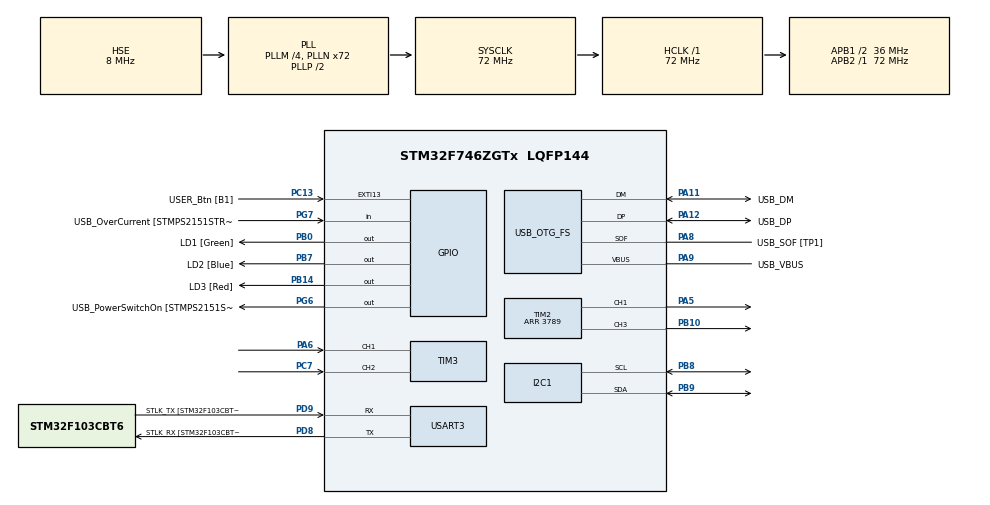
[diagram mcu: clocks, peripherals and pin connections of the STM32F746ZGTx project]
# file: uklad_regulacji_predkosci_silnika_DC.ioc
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I2C1.Timing=0x00808CD2
Mcu.Family=STM32F7
Mcu.Name=STM32F746ZGTx
Mcu.Package=LQFP144
NVIC.PriorityGroup=NVIC_PRIORITYGROUP_4
NVIC.TIM4_IRQn=true\:0\:0\:false\:false\:true\:true\:true\:true
PA1.GPIO_Label=RMII_REF_CLK [LAN8742A-CZ-TR_REFCLK0]
PA1.Signal=ETH_REF_CLK
PA10.GPIO_Label=USB_ID
PA10.Signal=USB_OTG_FS_ID
PA11.GPIO_Label=USB_DM
PA11.Mode=Device_Only
PA11.Signal=USB_OTG_FS_DM
PA12.GPIO_Label=USB_DP
PA12.Mode=Device_Only
PA12.Signal=USB_OTG_FS_DP
PA13.GPIO_Label=TMS
PA13.Mode=Serial_Wire
PA13.Signal=SYS_JTMS-SWDIO
PA14.GPIO_Label=TCK
PA14.Mode=Serial_Wire
PA14.Signal=SYS_JTCK-SWCLK
PA2.GPIO_Label=RMII_MDIO [LAN8742A-CZ-TR_MDIO]
PA2.Signal=ETH_MDIO
PA5.Signal=S_TIM2_CH1_ETR
PA6.Signal=S_TIM3_CH1
PA7.GPIO_Label=RMII_CRS_DV [LAN8742A-CZ-TR_CRS_DV]
PA7.Signal=ETH_CRS_DV
PA8.GPIO_Label=USB_SOF [TP1]
PA8.Mode=Activate_SOF_FS
PA8.Signal=USB_OTG_FS_SOF
PA9.GPIO_Label=USB_VBUS
PA9.Mode=Activate_VBUS
PA9.Signal=USB_OTG_FS_VBUS
PB0.GPIO_Label=LD1 [Green]
PB0.Signal=GPIO_Output
PB10.Signal=S_TIM2_CH3
PB13.GPIO_Label=RMII_TXD1 [LAN8742A-CZ-TR_TXD1]
PB13.Signal=ETH_TXD1
PB14.GPIO_Label=LD3 [Red]
PB14.Signal=GPIO_Output
PB3.GPIO_Label=SW0
PB3.Signal=SYS_JTDO-SWO
PB7.GPIO_Label=LD2 [Blue]
PB7.Signal=GPIO_Output
PB8.Mode=I2C
PB8.Signal=I2C1_SCL
PB9.Mode=I2C
PB9.Signal=I2C1_SDA
PC1.GPIO_Label=RMII_MDC [LAN8742A-CZ-TR_MDC]
PC1.Signal=ETH_MDC
PC13.GPIO_Label=USER_Btn [B1]
PC13.Signal=GPXTI13
PC14/OSC32_IN.Mode=LSE-External-Oscillator
PC14/OSC32_IN.Signal=RCC_OSC32_IN
PC15/OSC32_OUT.Mode=LSE-External-Oscillator
PC15/OSC32_OUT.Signal=RCC_OSC32_OUT
PC4.GPIO_Label=RMII_RXD0 [LAN8742A-CZ-TR_RXD0]
PC4.Signal=ETH_RXD0
PC5.GPIO_Label=RMII_RXD1 [LAN8742A-CZ-TR_RXD1]
PC5.Signal=ETH_RXD1
PC7.Signal=S_TIM3_CH2
PD8.GPIO_Label=STLK_RX [STM32F103CBT6_PA3]
PD8.GPIO_PuPd=GPIO_PULLUP
PD8.Mode=Asynchronous
PD8.Signal=USART3_TX
PD9.GPIO_Label=STLK_TX [STM32F103CBT6_PA2]
PD9.GPIO_PuPd=GPIO_PULLUP
PD9.Mode=Asynchronous
PD9.Signal=USART3_RX
PG11.GPIO_Label=RMII_TX_EN [LAN8742A-CZ-TR_TXEN]
PG11.Signal=ETH_TX_EN
PG13.GPIO_Label=RMII_TXD0 [LAN8742A-CZ-TR_TXD0]
PG13.Signal=ETH_TXD0
PG6.GPIO_Label=USB_PowerSwitchOn [STMPS2151STR_EN]
PG6.Signal=GPIO_Output
PG7.GPIO_Label=USB_OverCurrent [STMPS2151STR_FAULT]
PG7.Signal=GPIO_Input
PH0/OSC_IN.GPIO_Label=MCO [STM32F103CBT6_PA8]
PH0/OSC_IN.Mode=HSE-External-Clock-Source
PH0/OSC_IN.Signal=RCC_OSC_IN
PH1/OSC_OUT.Mode=HSE-External-Clock-Source
PH1/OSC_OUT.Signal=RCC_OSC_OUT
ProjectManager.HeapSize=0x200
ProjectManager.StackSize=0x400
ProjectManager.TargetToolchain=STM32CubeIDE
RCC.48MHZClocksFreq_Value=24000000
RCC.AHBFreq_Value=72000000
RCC.APB1CLKDivider=RCC_HCLK_DIV2
RCC.APB1Freq_Value=36000000
RCC.APB1TimFreq_Value=72000000
RCC.APB2Freq_Value=72000000
RCC.APB2TimFreq_Value=72000000
RCC.CortexFreq_Value=72000000
RCC.HCLKFreq_Value=72000000
RCC.HSE_VALUE=8000000
RCC.HSI_VALUE=16000000
RCC.PLLM=4
RCC.PLLMUL=RCC_PLL_MUL9
RCC.PLLN=72
RCC.PLLQ=3
RCC.PRESCALERUSB=RCC_USBCLKSOURCE_PLL_DIV1_5
RCC.SYSCLKFreq_VALUE=72000000
RCC.SYSCLKSource=RCC_SYSCLKSOURCE_PLLCLK
RCC.SYSCLKSourceVirtual=RCC_SYSCLKSOURCE_PLLCLK
RCC.USBFreq_Value=48000000
RCC.VCOOutputFreq_Value=144000000
SH.S_TIM2_CH1_ETR.0=TIM2_CH1,PWM Generation1 CH1
SH.S_TIM2_CH3.0=TIM2_CH3,PWM Generation3 CH3
SH.S_TIM3_CH1.0=TIM3_CH1,Encoder_Interface
SH.S_TIM3_CH2.0=TIM3_CH2,Encoder_Interface
TIM2.Channel-PWM\ Generation1\ CH1=TIM_CHANNEL_1
TIM2.Channel-PWM\ Generation3\ CH3=TIM_CHANNEL_3
TIM2.Period=3789
TIM3.EncoderMode=TIM_ENCODERMODE_TI12
TIM3.IC1Filter=0
TIM3.IC2Filter=0
TIM4.Period=49
TIM4.Prescaler=7199
USART3.VirtualMode-Asynchronous=VM_ASYNC
USB_OTG_FS.VirtualMode=Device_Only
VP_TIM4_VS_ClockSourceINT.Mode=Internal
board=NUCLEO-F746ZG

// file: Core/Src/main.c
/* USER CODE BEGIN Header */
/**
  ******************************************************************************
  * @file           : main.c
  * @brief          : Main program body
  ******************************************************************************
  * @attention
  *
  * Copyright (c) 2026 STMicroelectronics.
  * All rights reserved.
  *
  * This software is licensed under terms that can be found in the LICENSE file
  * in the root directory of this software component.
  * If no LICENSE file comes with this software, it is provided AS-IS.
  *
  ******************************************************************************
  */
/* USER CODE END Header */
#include "main.h"

/* USER CODE BEGIN Includes */
#include "sterowanie_pwm.h"
#include "encoder.h"
#include"PID.h"
#include"ssd1306.h"
#include"ssd1306_fonts.h"
/* USER CODE END Includes */

I2C_HandleTypeDef hi2c1;

TIM_HandleTypeDef htim2;
TIM_HandleTypeDef htim3;
TIM_HandleTypeDef htim4;

UART_HandleTypeDef huart3;

PCD_HandleTypeDef hpcd_USB_OTG_FS;

/* USER CODE BEGIN PV */
encoder enc;
PID_Motor motor_pid;

extern encoder enc;
float motor_rpm;
float motor_rpm_absolute;

volatile int32_t encoder_position;
volatile int32_t encoder_velocity;
/* USER CODE END PV */

void SystemClock_Config(void);
static void MX_GPIO_Init(void);
static void MX_I2C1_Init(void);
static void MX_USART3_UART_Init(void);
static void MX_USB_OTG_FS_PCD_Init(void);
static void MX_TIM2_Init(void);
static void MX_TIM3_Init(void);
static void MX_TIM4_Init(void);

/* USER CODE BEGIN 0 */

void HAL_TIM_PeriodElapsedCallback(TIM_HandleTypeDef *htim)
{
    if(htim->Instance == TIM4)
    {
        // odczyt enkodera
        encoder_update(&enc, &htim3);

        // kierunek zależy od znaku targetu
        DIRECTION dir = (motor_pid.target >= 0.0f) ? BACKWARD : FORWARD;

        // aktualizacja PID
        float current_rpm = fabs(enc.rpm); // PID widzi tylko dodatnie wartości
        PID_Update(&motor_pid, current_rpm);

        // pobranie PWM
        float pwm = PID_GetPWM(&motor_pid);

        // ustaw PWM i kierunek
        set_PWM(dir, pwm);
    }
}

void setup()
{

}
/* USER CODE END 0 */

int main(void)
{

  /* MCU Configuration--------------------------------------------------------*/

  /* Reset of all peripherals, Initializes the Flash interface and the Systick. */
   HAL_Init();

  /* Configure the system clock */
  SystemClock_Config();

  /* Initialize all configured peripherals */
  MX_GPIO_Init();
  MX_I2C1_Init();
  MX_USART3_UART_Init();
  MX_USB_OTG_FS_PCD_Init();
  MX_TIM2_Init();
  MX_TIM3_Init();
  MX_TIM4_Init();
  /* USER CODE BEGIN 2 */

  ssd1306_Init();
  ssd1306_Fill(Black);
  ssd1306_UpdateScreen();
  uint32_t oled_timer = 0;

  PID_Init(&motor_pid, 1.2f, 0.8f, 0.6f,0.05f);  // ustaw Kp, Ki, Kd
  PID_SetTarget(&motor_pid, 0.0f);       // cel w RPM

  Motor_Init(&htim2, TIM_CHANNEL_1, TIM_CHANNEL_3); // uruchom PWM
  encoder_init(&enc, &htim3);                       // uruchom enkoder
  HAL_TIM_Base_Start_IT(&htim4);

  /* USER CODE END 2 */

  /* Infinite loop */
  while (1)
  {

    /* USER CODE BEGIN 3 */
	  if(HAL_GetTick() - oled_timer > 200) {
	          oled_timer = HAL_GetTick();
	          ssd1306_Fill(Black);

	          char buf[20];
	          int rpm10 = (int)(enc.rpm * 10);
	          sprintf(buf, "%d.%d", rpm10/10, rpm10%10);
	          ssd1306_SetCursor(0,0);
	          ssd1306_WriteString("RPM: ", Font_7x10, White);
	          ssd1306_WriteString(buf, Font_7x10, White);

	          int set10 = (int)(motor_pid.target * 10);
	          sprintf(buf, "%d.%d", set10/10, set10%10);
	          ssd1306_SetCursor(0,12);
	          ssd1306_WriteString("SET: ", Font_7x10, White);
	          ssd1306_WriteString(buf, Font_7x10, White);

	          sprintf(buf, "%d", (int)PID_GetPWM(&motor_pid));
	          ssd1306_SetCursor(64,0);
	          ssd1306_WriteString("PWM: ", Font_7x10, White);
	          ssd1306_WriteString(buf, Font_7x10, White);

	          ssd1306_SetCursor(64,12);
	          ssd1306_WriteString(
	              (motor_pid.target >= 0) ? "DIR: FWD" : "DIR: BWD",
	              Font_7x10, White
	          );

	          ssd1306_UpdateScreen();
	      }

  }
  /* USER CODE END 3 */
}

void SystemClock_Config(void)
{
  RCC_OscInitTypeDef RCC_OscInitStruct = {0};
  RCC_ClkInitTypeDef RCC_ClkInitStruct = {0};

  /** Configure LSE Drive Capability
  */
  HAL_PWR_EnableBkUpAccess();

  /** Configure the main internal regulator output voltage
  */
  __HAL_RCC_PWR_CLK_ENABLE();
  __HAL_PWR_VOLTAGESCALING_CONFIG(PWR_REGULATOR_VOLTAGE_SCALE3);

  /** Initializes the RCC Oscillators according to the specified parameters
  * in the RCC_OscInitTypeDef structure.
  */
  RCC_OscInitStruct.OscillatorType = RCC_OSCILLATORTYPE_HSE;
  RCC_OscInitStruct.HSEState = RCC_HSE_BYPASS;
  RCC_OscInitStruct.PLL.PLLState = RCC_PLL_ON;
  RCC_OscInitStruct.PLL.PLLSource = RCC_PLLSOURCE_HSE;
  RCC_OscInitStruct.PLL.PLLM = 4;
  RCC_OscInitStruct.PLL.PLLN = 72;
  RCC_OscInitStruct.PLL.PLLP = RCC_PLLP_DIV2;
  RCC_OscInitStruct.PLL.PLLQ = 3;
  if (HAL_RCC_OscConfig(&RCC_OscInitStruct) != HAL_OK)
  {
    Error_Handler();
  }

  /** Initializes the CPU, AHB and APB buses clocks
  */
  RCC_ClkInitStruct.ClockType = RCC_CLOCKTYPE_HCLK|RCC_CLOCKTYPE_SYSCLK
                              |RCC_CLOCKTYPE_PCLK1|RCC_CLOCKTYPE_PCLK2;
  RCC_ClkInitStruct.SYSCLKSource = RCC_SYSCLKSOURCE_PLLCLK;
  RCC_ClkInitStruct.AHBCLKDivider = RCC_SYSCLK_DIV1;
  RCC_ClkInitStruct.APB1CLKDivider = RCC_HCLK_DIV2;
  RCC_ClkInitStruct.APB2CLKDivider = RCC_HCLK_DIV1;

  if (HAL_RCC_ClockConfig(&RCC_ClkInitStruct, FLASH_LATENCY_2) != HAL_OK)
  {
    Error_Handler();
  }
}

static void MX_I2C1_Init(void)
{

  hi2c1.Instance = I2C1;
  hi2c1.Init.Timing = 0x00808CD2;
  hi2c1.Init.OwnAddress1 = 0;
  hi2c1.Init.AddressingMode = I2C_ADDRESSINGMODE_7BIT;
  hi2c1.Init.DualAddressMode = I2C_DUALADDRESS_DISABLE;
  hi2c1.Init.OwnAddress2 = 0;
  hi2c1.Init.OwnAddress2Masks = I2C_OA2_NOMASK;
  hi2c1.Init.GeneralCallMode = I2C_GENERALCALL_DISABLE;
  hi2c1.Init.NoStretchMode = I2C_NOSTRETCH_DISABLE;
  if (HAL_I2C_Init(&hi2c1) != HAL_OK)
  {
    Error_Handler();
  }

  /** Configure Analogue filter
  */
  if (HAL_I2CEx_ConfigAnalogFilter(&hi2c1, I2C_ANALOGFILTER_ENABLE) != HAL_OK)
  {
    Error_Handler();
  }

  /** Configure Digital filter
  */
  if (HAL_I2CEx_ConfigDigitalFilter(&hi2c1, 0) != HAL_OK)
  {
    Error_Handler();
  }

}

static void MX_TIM2_Init(void)
{

  TIM_MasterConfigTypeDef sMasterConfig = {0};
  TIM_OC_InitTypeDef sConfigOC = {0};

  htim2.Instance = TIM2;
  htim2.Init.Prescaler = 0;
  htim2.Init.CounterMode = TIM_COUNTERMODE_UP;
  htim2.Init.Period = 3789;
  htim2.Init.ClockDivision = TIM_CLOCKDIVISION_DIV1;
  htim2.Init.AutoReloadPreload = TIM_AUTORELOAD_PRELOAD_DISABLE;
  if (HAL_TIM_PWM_Init(&htim2) != HAL_OK)
  {
    Error_Handler();
  }
  sMasterConfig.MasterOutputTrigger = TIM_TRGO_RESET;
  sMasterConfig.MasterSlaveMode = TIM_MASTERSLAVEMODE_DISABLE;
  if (HAL_TIMEx_MasterConfigSynchronization(&htim2, &sMasterConfig) != HAL_OK)
  {
    Error_Handler();
  }
  sConfigOC.OCMode = TIM_OCMODE_PWM1;
  sConfigOC.Pulse = 0;
  sConfigOC.OCPolarity = TIM_OCPOLARITY_HIGH;
  sConfigOC.OCFastMode = TIM_OCFAST_DISABLE;
  if (HAL_TIM_PWM_ConfigChannel(&htim2, &sConfigOC, TIM_CHANNEL_1) != HAL_OK)
  {
    Error_Handler();
  }
  if (HAL_TIM_PWM_ConfigChannel(&htim2, &sConfigOC, TIM_CHANNEL_3) != HAL_OK)
  {
    Error_Handler();
  }
  HAL_TIM_MspPostInit(&htim2);

}

static void MX_TIM3_Init(void)
{

  TIM_Encoder_InitTypeDef sConfig = {0};
  TIM_MasterConfigTypeDef sMasterConfig = {0};

  htim3.Instance = TIM3;
  htim3.Init.Prescaler = 0;
  htim3.Init.CounterMode = TIM_COUNTERMODE_UP;
  htim3.Init.Period = 65535;
  htim3.Init.ClockDivision = TIM_CLOCKDIVISION_DIV1;
  htim3.Init.AutoReloadPreload = TIM_AUTORELOAD_PRELOAD_DISABLE;
  sConfig.EncoderMode = TIM_ENCODERMODE_TI12;
  sConfig.IC1Polarity = TIM_ICPOLARITY_RISING;
  sConfig.IC1Selection = TIM_ICSELECTION_DIRECTTI;
  sConfig.IC1Prescaler = TIM_ICPSC_DIV1;
  sConfig.IC1Filter = 0;
  sConfig.IC2Polarity = TIM_ICPOLARITY_RISING;
  sConfig.IC2Selection = TIM_ICSELECTION_DIRECTTI;
  sConfig.IC2Prescaler = TIM_ICPSC_DIV1;
  sConfig.IC2Filter = 0;
  if (HAL_TIM_Encoder_Init(&htim3, &sConfig) != HAL_OK)
  {
    Error_Handler();
  }
  sMasterConfig.MasterOutputTrigger = TIM_TRGO_RESET;
  sMasterConfig.MasterSlaveMode = TIM_MASTERSLAVEMODE_DISABLE;
  if (HAL_TIMEx_MasterConfigSynchronization(&htim3, &sMasterConfig) != HAL_OK)
  {
    Error_Handler();
  }
  /* USER CODE BEGIN TIM3_Init 2 */
HAL_TIM_Encoder_Start(&htim3, TIM_CHANNEL_ALL);
  /* USER CODE END TIM3_Init 2 */

}

static void MX_TIM4_Init(void)
{

  TIM_ClockConfigTypeDef sClockSourceConfig = {0};
  TIM_MasterConfigTypeDef sMasterConfig = {0};

  htim4.Instance = TIM4;
  htim4.Init.Prescaler = 7199;
  htim4.Init.CounterMode = TIM_COUNTERMODE_UP;
  htim4.Init.Period = 49;
  htim4.Init.ClockDivision = TIM_CLOCKDIVISION_DIV1;
  htim4.Init.AutoReloadPreload = TIM_AUTORELOAD_PRELOAD_DISABLE;
  if (HAL_TIM_Base_Init(&htim4) != HAL_OK)
  {
    Error_Handler();
  }
  sClockSourceConfig.ClockSource = TIM_CLOCKSOURCE_INTERNAL;
  if (HAL_TIM_ConfigClockSource(&htim4, &sClockSourceConfig) != HAL_OK)
  {
    Error_Handler();
  }
  sMasterConfig.MasterOutputTrigger = TIM_TRGO_RESET;
  sMasterConfig.MasterSlaveMode = TIM_MASTERSLAVEMODE_DISABLE;
  if (HAL_TIMEx_MasterConfigSynchronization(&htim4, &sMasterConfig) != HAL_OK)
  {
    Error_Handler();
  }

}

static void MX_USART3_UART_Init(void)
{

  huart3.Instance = USART3;
  huart3.Init.BaudRate = 115200;
  huart3.Init.WordLength = UART_WORDLENGTH_8B;
  huart3.Init.StopBits = UART_STOPBITS_1;
  huart3.Init.Parity = UART_PARITY_NONE;
  huart3.Init.Mode = UART_MODE_TX_RX;
  huart3.Init.HwFlowCtl = UART_HWCONTROL_NONE;
  huart3.Init.OverSampling = UART_OVERSAMPLING_16;
  huart3.Init.OneBitSampling = UART_ONE_BIT_SAMPLE_DISABLE;
  huart3.AdvancedInit.AdvFeatureInit = UART_ADVFEATURE_NO_INIT;
  if (HAL_UART_Init(&huart3) != HAL_OK)
  {
    Error_Handler();
  }

}

static void MX_USB_OTG_FS_PCD_Init(void)
{

  hpcd_USB_OTG_FS.Instance = USB_OTG_FS;
  hpcd_USB_OTG_FS.Init.dev_endpoints = 6;
  hpcd_USB_OTG_FS.Init.speed = PCD_SPEED_FULL;
  hpcd_USB_OTG_FS.Init.dma_enable = DISABLE;
  hpcd_USB_OTG_FS.Init.phy_itface = PCD_PHY_EMBEDDED;
  hpcd_USB_OTG_FS.Init.Sof_enable = ENABLE;
  hpcd_USB_OTG_FS.Init.low_power_enable = DISABLE;
  hpcd_USB_OTG_FS.Init.lpm_enable = DISABLE;
  hpcd_USB_OTG_FS.Init.vbus_sensing_enable = ENABLE;
  hpcd_USB_OTG_FS.Init.use_dedicated_ep1 = DISABLE;
  if (HAL_PCD_Init(&hpcd_USB_OTG_FS) != HAL_OK)
  {
    Error_Handler();
  }

}

static void MX_GPIO_Init(void)
{
  GPIO_InitTypeDef GPIO_InitStruct = {0};

  /* GPIO Ports Clock Enable */
  __HAL_RCC_GPIOC_CLK_ENABLE();
  __HAL_RCC_GPIOH_CLK_ENABLE();
  __HAL_RCC_GPIOA_CLK_ENABLE();
  __HAL_RCC_GPIOB_CLK_ENABLE();
  __HAL_RCC_GPIOD_CLK_ENABLE();
  __HAL_RCC_GPIOG_CLK_ENABLE();

  /*Configure GPIO pin Output Level */
  HAL_GPIO_WritePin(GPIOB, LD1_Pin|LD3_Pin|LD2_Pin, GPIO_PIN_RESET);

  /*Configure GPIO pin Output Level */
  HAL_GPIO_WritePin(USB_PowerSwitchOn_GPIO_Port, USB_PowerSwitchOn_Pin, GPIO_PIN_RESET);

  /*Configure GPIO pin : USER_Btn_Pin */
  GPIO_InitStruct.Pin = USER_Btn_Pin;
  GPIO_InitStruct.Mode = GPIO_MODE_IT_RISING;
  GPIO_InitStruct.Pull = GPIO_NOPULL;
  HAL_GPIO_Init(USER_Btn_GPIO_Port, &GPIO_InitStruct);

  /*Configure GPIO pins : RMII_MDC_Pin RMII_RXD0_Pin RMII_RXD1_Pin */
  GPIO_InitStruct.Pin = RMII_MDC_Pin|RMII_RXD0_Pin|RMII_RXD1_Pin;
  GPIO_InitStruct.Mode = GPIO_MODE_AF_PP;
  GPIO_InitStruct.Pull = GPIO_NOPULL;
  GPIO_InitStruct.Speed = GPIO_SPEED_FREQ_VERY_HIGH;
  GPIO_InitStruct.Alternate = GPIO_AF11_ETH;
  HAL_GPIO_Init(GPIOC, &GPIO_InitStruct);

  /*Configure GPIO pins : RMII_REF_CLK_Pin RMII_MDIO_Pin RMII_CRS_DV_Pin */
  GPIO_InitStruct.Pin = RMII_REF_CLK_Pin|RMII_MDIO_Pin|RMII_CRS_DV_Pin;
  GPIO_InitStruct.Mode = GPIO_MODE_AF_PP;
  GPIO_InitStruct.Pull = GPIO_NOPULL;
  GPIO_InitStruct.Speed = GPIO_SPEED_FREQ_VERY_HIGH;
  GPIO_InitStruct.Alternate = GPIO_AF11_ETH;
  HAL_GPIO_Init(GPIOA, &GPIO_InitStruct);

  /*Configure GPIO pins : LD1_Pin LD3_Pin LD2_Pin */
  GPIO_InitStruct.Pin = LD1_Pin|LD3_Pin|LD2_Pin;
  GPIO_InitStruct.Mode = GPIO_MODE_OUTPUT_PP;
  GPIO_InitStruct.Pull = GPIO_NOPULL;
  GPIO_InitStruct.Speed = GPIO_SPEED_FREQ_LOW;
  HAL_GPIO_Init(GPIOB, &GPIO_InitStruct);

  /*Configure GPIO pin : RMII_TXD1_Pin */
  GPIO_InitStruct.Pin = RMII_TXD1_Pin;
  GPIO_InitStruct.Mode = GPIO_MODE_AF_PP;
  GPIO_InitStruct.Pull = GPIO_NOPULL;
  GPIO_InitStruct.Speed = GPIO_SPEED_FREQ_VERY_HIGH;
  GPIO_InitStruct.Alternate = GPIO_AF11_ETH;
  HAL_GPIO_Init(RMII_TXD1_GPIO_Port, &GPIO_InitStruct);

  /*Configure GPIO pin : USB_PowerSwitchOn_Pin */
  GPIO_InitStruct.Pin = USB_PowerSwitchOn_Pin;
  GPIO_InitStruct.Mode = GPIO_MODE_OUTPUT_PP;
  GPIO_InitStruct.Pull = GPIO_NOPULL;
  GPIO_InitStruct.Speed = GPIO_SPEED_FREQ_LOW;
  HAL_GPIO_Init(USB_PowerSwitchOn_GPIO_Port, &GPIO_InitStruct);

  /*Configure GPIO pin : USB_OverCurrent_Pin */
  GPIO_InitStruct.Pin = USB_OverCurrent_Pin;
  GPIO_InitStruct.Mode = GPIO_MODE_INPUT;
  GPIO_InitStruct.Pull = GPIO_NOPULL;
  HAL_GPIO_Init(USB_OverCurrent_GPIO_Port, &GPIO_InitStruct);

  /*Configure GPIO pins : RMII_TX_EN_Pin RMII_TXD0_Pin */
  GPIO_InitStruct.Pin = RMII_TX_EN_Pin|RMII_TXD0_Pin;
  GPIO_InitStruct.Mode = GPIO_MODE_AF_PP;
  GPIO_InitStruct.Pull = GPIO_NOPULL;
  GPIO_InitStruct.Speed = GPIO_SPEED_FREQ_VERY_HIGH;
  GPIO_InitStruct.Alternate = GPIO_AF11_ETH;
  HAL_GPIO_Init(GPIOG, &GPIO_InitStruct);

}

void Error_Handler(void)
{
  __disable_irq();
  while (1)
  {
  }
}
